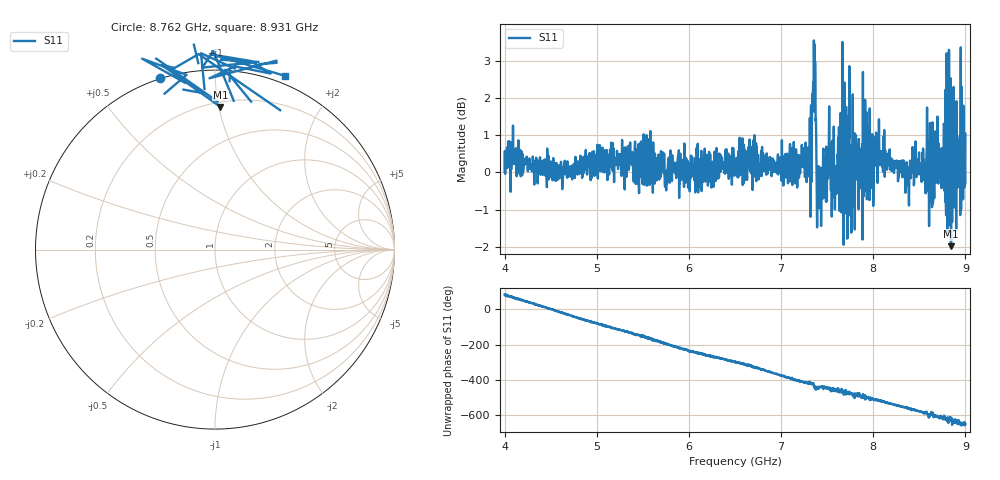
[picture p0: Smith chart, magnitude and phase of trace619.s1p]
! Created with skrf 1.8.0 (http://scikit-rf.org).
# Hz S RI R 50.0
!freq ReS11 ImS11
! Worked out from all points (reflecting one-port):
!   1601 points, 4 GHz to 9 GHz, reference 50 ohm
!   lowest |S11| = -2.0 dB at 8.844 GHz (marker M1), VSWR 8.80, Z = 11.7 + j50.6 ohm
!   phase of S11 starts at 83 deg and turns -734 deg over the sweep
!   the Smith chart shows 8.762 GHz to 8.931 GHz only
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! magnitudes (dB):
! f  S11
! 4 GHz  0.0
! 4.1 GHz  0.2
! 4.625 GHz  -0.4
! 5.25 GHz  0.4
! 5.875 GHz  0.2
! 6.5 GHz  0.1
! 7.125 GHz  0.3
! 7.294 GHz  -0.1
! 7.356 GHz  3.5
! 7.412 GHz  -1.0
! 7.522 GHz  1.8
! 7.575 GHz  -0.2
! 7.669 GHz  0.6
! 7.678 GHz  -1.9
! 7.691 GHz  0.5
! 7.703 GHz  -0.9
! 7.75 GHz  0.0
! 7.859 GHz  0.2
! 7.928 GHz  1.6
! 8.038 GHz  0.5
! 8.375 GHz  0.1
! 8.766 GHz  1.3
! 8.775 GHz  1.1
! 8.816 GHz  -1.4
! 8.844 GHz  -2.0
! 8.869 GHz  0.1
! 8.972 GHz  0.3
! 9 GHz  -0.3
